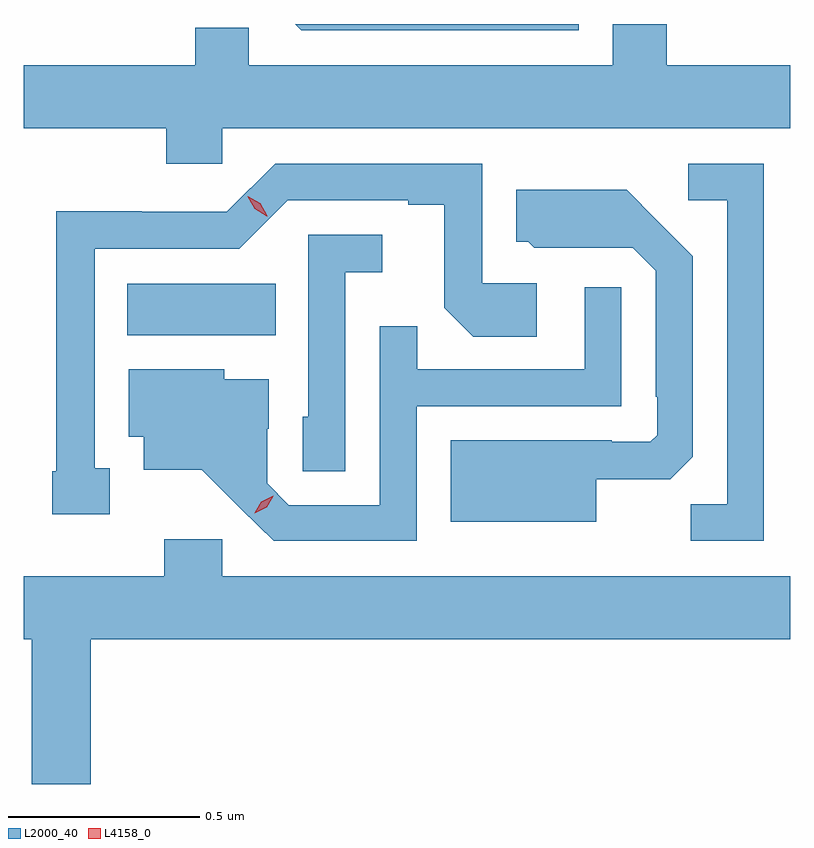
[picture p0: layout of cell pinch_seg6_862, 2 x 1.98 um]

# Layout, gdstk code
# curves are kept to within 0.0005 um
import gdstk
lib = gdstk.Library(unit=1e-6, precision=1e-09)
def R(c, l, rs):  # rectangles x0, y0, x1, y1
    for r in rs: c.add(gdstk.rectangle(r[:2], r[2:], *l))
def P(c, l, *ps):  # polygons
    for p in ps: c.add(gdstk.Polygon(p, *l))
L2000_40 = (2000, 40)
L4158_0 = (4158, 0)

pinch_seg6_862 = lib.new_cell('pinch_seg6_862')
R(pinch_seg6_862, L2000_40, [(137.369,978.764,137.756,978.898)])
P(pinch_seg6_862, L2000_40, [(137.616,979.304),(139.098,979.304),(139.098,979.468),(138.775,979.468),(138.775,979.576),(138.635,979.576),(138.635,979.468),(137.685,979.468),(137.685,979.566),(137.546,979.566),(137.546,979.468),(137.098,979.468),(137.098,979.304),(137.47,979.304),(137.47,979.211),(137.616,979.211)],
  [(138.546,979.576),(137.806,979.576),(137.822,979.56),(138.546,979.56)],
  [(137.323,978.417),(137.284,978.417),(137.284,978.99),(137.661,978.99),(137.787,979.116),(138.101,979.116),(138.101,979.104),(138.195,979.104),(138.195,978.836),(138.271,978.76),(138.436,978.76),(138.436,978.9),(138.294,978.9),(138.294,979.212),(137.754,979.212),(137.628,979.086),(137.406,979.086),(137.406,979.088),(137.183,979.088),(137.183,978.409),(137.173,978.409),(137.173,978.297),(137.323,978.297)],
  [(139.029,979.212),(138.831,979.212),(138.831,979.116),(138.933,979.116),(138.933,978.323),(138.838,978.323),(138.838,978.228),(139.029,978.228)],
  [(138.592,978.389),(138.784,978.389),(138.843,978.448),(138.843,978.97),(138.671,979.144),(138.383,979.144),(138.383,979.008),(138.414,979.008),(138.43,978.992),(138.564,978.992),(138.564,978.993),(138.687,978.993),(138.747,978.933),(138.747,978.604),(138.75,978.604),(138.75,978.504),(138.732,978.486),(138.632,978.486),(138.632,978.49),(138.212,978.49),(138.212,978.278),(138.592,978.278)],
  [(137.937,978.929),(138.034,978.929),(138.034,979.026),(137.841,979.026),(137.841,978.552),(137.826,978.552),(137.826,978.409),(137.937,978.409)],
  [(138.123,978.579),(138.657,978.579),(138.657,978.889),(138.561,978.889),(138.561,978.675),(138.125,978.675),(138.125,978.788),(138.027,978.788),(138.027,978.321),(137.79,978.321),(137.733,978.378),(137.733,978.52),(137.737,978.52),(137.737,978.649),(137.622,978.649),(137.622,978.676),(137.372,978.676),(137.372,978.5),(137.411,978.5),(137.411,978.413),(137.563,978.413),(137.75,978.228),(138.123,978.228)],
  [(137.273,977.972),(139.098,977.972),(139.098,978.136),(137.616,978.136),(137.616,978.232),(137.465,978.232),(137.465,978.136),(137.098,978.136),(137.098,977.972),(137.12,977.972),(137.12,977.594),(137.273,977.594)])
P(pinch_seg6_862, L4158_0, [(137.701,978.3),(137.701,978.301),(137.718,978.33),(137.749,978.346),(137.749,978.346),(137.749,978.345),(137.732,978.316),(137.701,978.3)],
  [(137.732,979.075),(137.701,979.094),(137.683,979.126),(137.683,979.127),(137.683,979.127),(137.715,979.108),(137.733,979.076),(137.733,979.075)])

lib.write_gds('pinch_seg6_862.gds')
